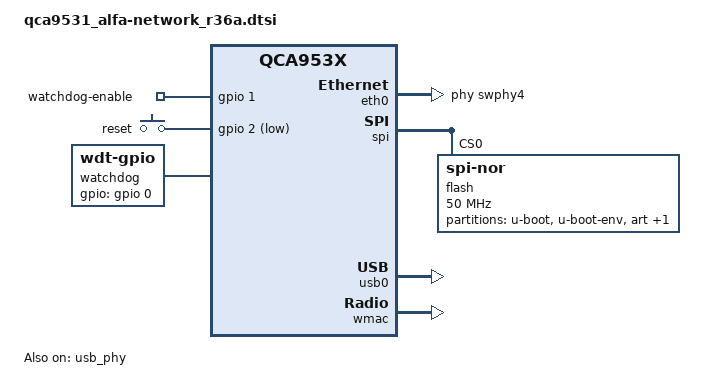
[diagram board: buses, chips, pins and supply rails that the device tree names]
// SPDX-License-Identifier: GPL-2.0-or-later OR MIT

#include "qca953x.dtsi"

#include <dt-bindings/gpio/gpio.h>
#include <dt-bindings/input/input.h>

/ {
	aliases {
		label-mac-device = &wmac;
	};

	gpio_export: gpio-export {
		compatible = "gpio-export";
		#size-cells = <0>;

		watchdog-enable {
			gpio-export,name = "watchdog-enable";
			gpio-export,output = <1>;
			gpios = <&gpio 1 GPIO_ACTIVE_HIGH>;
		};
	};

	keys: keys {
		compatible = "gpio-keys";

		reset {
			label = "reset";
			linux,code = <KEY_RESTART>;
			gpios = <&gpio 2 GPIO_ACTIVE_LOW>;
			debounce-interval = <60>;
		};
	};

	watchdog {
		compatible = "linux,wdt-gpio";
		gpios = <&gpio 0 GPIO_ACTIVE_HIGH>;
		hw_algo = "toggle";
		hw_margin_ms = <25000>;
		always-running;
	};
};

&eth0 {
	status = "okay";

	phy-handle = <&swphy4>;
};

&pinmux {
	enable_gpio4: pinmux_enable_gpio4 {
		pinctrl-single,bits = <0x04 0x0 0xff>;
	};

	enable_gpio16: pinmux_enable_gpio16 {
		pinctrl-single,bits = <0x10 0x0 0xff>;
	};
};

&spi {
	status = "okay";

	flash@0 {
		compatible = "jedec,spi-nor";
		reg = <0>;
		spi-max-frequency = <50000000>;
		m25p,fast-read;

		partitions {
			compatible = "fixed-partitions";
			#address-cells = <1>;
			#size-cells = <1>;

			partition@0 {
				label = "u-boot";
				reg = <0x000000 0x060000>;
				read-only;
			};

			partition@60000 {
				label = "u-boot-env";
				reg = <0x060000 0x010000>;
			};

			partition@70000 {
				label = "art";
				reg = <0x070000 0x010000>;
				read-only;

				compatible = "nvmem-cells";
				#address-cells = <1>;
				#size-cells = <1>;

				cal_art_1000: cal@1000 {
					reg = <0x1000 0x440>;
				};

				macaddr_art_1002: macaddr@1002 {
					reg = <0x1002 0x6>;
				};
			};

			partition@80000 {
				compatible = "denx,uimage";
				label = "firmware";
				reg = <0x080000 0xf80000>;
			};
		};
	};
};

&usb0 {
	status = "okay";

	#address-cells = <1>;
	#size-cells = <0>;

	hub_port0: port@1 {
		reg = <1>;
		#trigger-source-cells = <0>;
	};
};

&usb_phy {
	status = "okay";
};

&wmac {
	status = "okay";

	nvmem-cells = <&cal_art_1000>, <&macaddr_art_1002>;
	nvmem-cell-names = "calibration", "mac-address";
};
